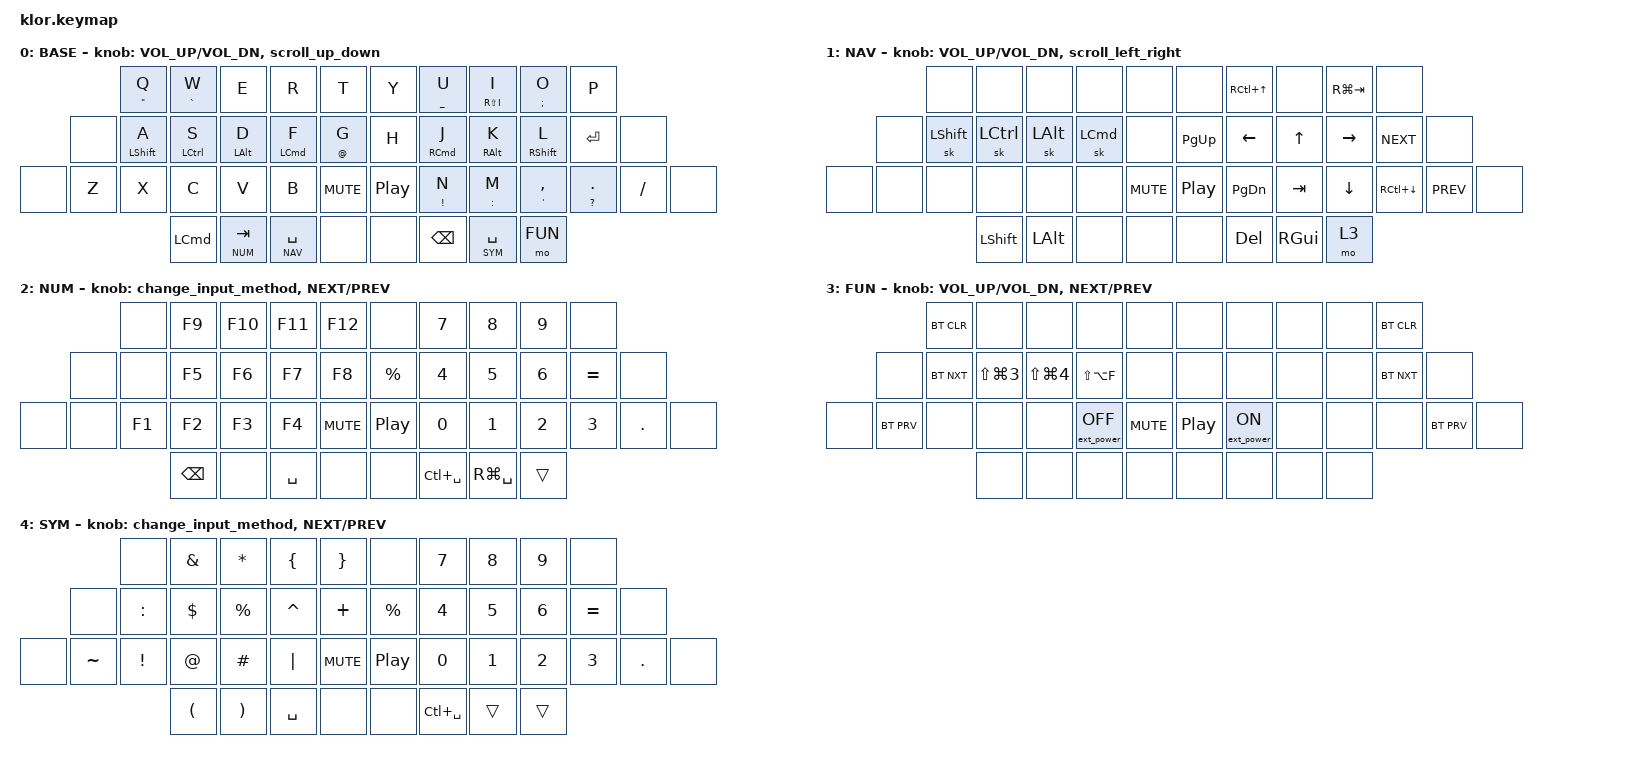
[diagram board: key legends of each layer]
//                               █         █    █            ▄▄▄▀▀▀▀▀▀▄▄▄        █▀▀▀▀▀▀▀▀▀▀█
//                               █        █     █          ▄▀            ▀▄      █          █
//                               █       █      █        ▄▀                ▀▄    █          █
//                               █      █       █        █                  █    █          █
//                               █     █        █       █                    █   █          █
//                               █    █         █       █                    █   █▄▄▄▄▄▄▄▄▄▄█
//                               █   █ █        █       █                    █   █      █
//                               █  █   █       █        █                  █    █       █
//                               █ █     █      █        ▀▄                ▄▀    █        █
//                               ██       █     █          ▀▄            ▄▀      █         █
//                               █         █    █▄▄▄▄▄▄▄▄    ▀▀▀▄▄▄▄▄▄▀▀▀        █          █
//
// ▄▄▄▄▄▄▄▄▄▄▄▄▄▄▄▄▄▄▄▄▄▄▄▄▄▄▄▄▄▄▄▄▄▄▄▄▄▄▄▄▄▄▄▄▄▄▄▄▄▄▄▄▄▄▄▄▄▄▄▄▄▄▄▄▄▄▄▄▄▄▄▄▄▄▄▄▄▄▄▄▄▄▄▄▄▄▄▄▄▄▄▄▄▄▄▄▄▄▄▄▄▄▄▄▄▄▄▄▄▄▄▄▄▄▄▄▄▄▄▄▄▄▄▄▄


#define ZMK_POINTING_DEFAULT_MOVE_VAL 1200  // 600
#define ZMK_POINTING_DEFAULT_SCRL_VAL 25   // 10
#define ZMK_MOUSE_SCRL_VAL 140

#include "../zmk-helpers/include/zmk-helpers/key-labels/klor.h"
#include "../zmk-helpers/include/zmk-helpers/helper.h"

#include <dt-bindings/zmk/mouse.h>
#include <behaviors.dtsi>
#include <dt-bindings/zmk/bt.h>
#include <dt-bindings/zmk/ext_power.h>
#include <dt-bindings/zmk/keys.h>
#include <dt-bindings/zmk/pointing.h>

&led_strip { chain-length = <21>; };

#define XXX &none
#define TODO ___
#define ___ &trans

#define BASE 0
#define NAV 1
#define NUM 2
#define FUN 3
#define SYM 4

#include "combos.dtsi"

/* ------------------------ general config ----------------------- */

#define QUICK_TAP_MS 175

// smart-layer config
&caps_word {  
    // /delete-property/ ignore-modifiers; // mods deactivate, requires PR #1451
    /delete-property/ ignore-numbers;
    continue-list = <BACKSPACE ENTER DELETE UNDERSCORE MINUS>;
};

// key-repeat config
&key_repeat {
    usage-pages = <HID_USAGE_KEY HID_USAGE_CONSUMER>; // repeat all keys
};

// sticky key aka 'one-shot mods'
&sk {
    release-after-ms = <2000>;
    quick-release;
};

// default layer-tap config
&lt {  
    flavor = "balanced";
    tapping-term-ms = <200>;
    quick-tap-ms = <QUICK_TAP_MS>;
};

#define KEYS_L LT0 LT1 LT2 LT3 LT4 LM0 LM1 LM2 LM3 LM4 LM5 LB0 LB1 LB2 LB3 LB4 LB5 // left hand
#define KEYS_R RT0 RT1 RT2 RT3 RT4 RM0 RM1 RM2 RM3 RM4 RM5 RB0 RB1 RB2 RB3 RB4 RB5 // right hand
#define THUMBS LH3 LH2 LH1 LH0 RH0 RH1 RH2 RH3 LEC REC                                   // thumbs

#define MAKE_HRM(NAME, HOLD, TAP, TRIGGER_POS) \
    ZMK_BEHAVIOR(NAME, hold_tap, \
        flavor = "balanced"; \
        tapping-term-ms = <280>; \
        quick-tap-ms = <QUICK_TAP_MS>; \
        require-prior-idle-ms = <150>; \
        bindings = <HOLD>, <TAP>; \
        hold-trigger-key-positions = <TRIGGER_POS>; \
        hold-trigger-on-release; \
    )
MAKE_HRM(hml, &kp, &kp, KEYS_R THUMBS)  // left-hand HRMs
MAKE_HRM(hmr, &kp, &kp, KEYS_L THUMBS)  // right-hand HRMs

&sensors {
    left_encoder { triggers-per-rotation = <15>; };

    right_encoder { triggers-per-rotation = <15>; };
};

/ {
    behaviors {
    
        scroll_up_down: scroll_up_down {
            compatible = "zmk,behavior-sensor-rotate";
            #sensor-binding-cells = <0>;
            bindings = <&msc SCRL_UP>, <&msc SCRL_DOWN>;

            tap-ms = <150>;
            label = "scroll_up_down";
        };

        scroll_left_right: scroll_left_right {
            compatible = "zmk,behavior-sensor-rotate";
            #sensor-binding-cells = <0>;
            bindings = <&msc SCRL_LEFT>, <&msc SCRL_RIGHT>;

            tap-ms = <150>;   // Ensures the event is very brief
            label = "scroll_left_right";
        };

        change_input_method: change_input_method {
            compatible = "zmk,behavior-sensor-rotate";
            #sensor-binding-cells = <0>;
            bindings = <&kp LC(SPACE)>, <&kp LC(SPACE)>;

            tap-ms = <150>;   // Ensures the event is very brief
            label = "change_input_method";
        };

    };

    combos {
        compatible = "zmk,combos";
        /*
        combo_closetab {
            timeout-ms = <50>;
            key-positions = <1 2>;
            bindings = <&macro_closetab>;
        };

        combo_lasttab {
            timeout-ms = <50>;
            key-positions = <2 3>;
            bindings = <&macro_lasttab>;
        }; */
    };

    macros {
        macro_closetab: macro_closetab {
            compatible = "zmk,behavior-macro";
            #binding-cells = <0>;
            bindings =
                <&macro_press>,
                <&kp LCTRL>,
                <&macro_tap>,
                <&kp F4>,
                <&macro_release>,
                <&kp LCTRL>;
        };

        macro_lasttab: macro_lasttab {
            compatible = "zmk,behavior-macro";
            #binding-cells = <0>;
            bindings =
                <&macro_press>,
                <&kp LCTRL>,
                <&macro_tap>,
                <&kp LS(T)>,
                <&macro_release>,
                <&kp LCTRL>;
        };
    };

    keymap {
        compatible = "zmk,keymap";

        // ▄▄▄▄▄▄▄▄▄▄▄▄▄▄▄▄▄▄▄▄▄▄▄▄▄▄▄▄▄▄▄▄▄▄▄▄▄▄▄▄▄▄▄▄▄▄▄▄▄▄▄▄▄▄▄▄▄▄▄▄▄▄▄▄▄▄▄▄▄▄▄▄▄▄▄▄▄▄▄▄▄▄▄▄▄▄▄▄▄▄▄▄▄▄▄▄▄▄▄▄▄▄▄▄▄▄▄▄▄▄▄▄▄▄▄▄▄▄▄▄▄▄▄▄▄▄▄▄▄▄▄▄▄▄▄▄▄▄▄▄▄▄

        base_layer {

            label = "BASE";

            bindings = <
	                    &hml DOUBLE_QUOTES  Q   &hml GRAVE W    &kp E	&kp R	&kp T				&kp Y	&hmr UNDER U	&hmr RS(I) I	&hmr SEMICOLON O	&kp P	
                XXX	&hml LEFT_SHIFT A	&hml LEFT_CONTROL S	&hml LEFT_ALT D	&hml LEFT_COMMAND F	&hml AT G				&kp H	&hmr RCMD J	&hmr RALT K	&hmr RSHFT L	&kp RETURN	XXX
                XXX	&kp Z	&kp X	&kp C	&kp V	&kp B	&kp C_MUTE		&kp C_PP	&hmr EXCLAMATION N	&hmr COLN M	&hmr SQT COMMA	&hmr QUESTION DOT	&kp SLASH	XXX
			                                &kp LEFT_COMMAND	&lt NUM TAB	&lt NAV SPACE	XXX		XXX	&kp BACKSPACE	&lt SYM SPACE	&mo FUN
            >;

            sensor-bindings = <&inc_dec_kp C_VOL_UP C_VOL_DN &scroll_up_down>;
        };

        // ▄▄▄▄▄▄▄▄▄▄▄▄▄▄▄▄▄▄▄▄▄▄▄▄▄▄▄▄▄▄▄▄▄▄▄▄▄▄▄▄▄▄▄▄▄▄▄▄▄▄▄▄▄▄▄▄▄▄▄▄▄▄▄▄▄▄▄▄▄▄▄▄▄▄▄▄▄▄▄▄▄▄▄▄▄▄▄▄▄▄▄▄▄▄▄▄▄▄▄▄▄▄▄▄▄▄▄▄▄▄▄▄▄▄▄▄▄▄▄▄▄▄▄▄▄▄▄▄▄▄▄▄▄▄▄▄▄▄▄▄▄▄

        nav_layer {
            label = "NAV";

            bindings = <
       XXX        XXX  XXX        XXX  XXX                        XXX    &kp RC(UP_ARROW)  XXX  &kp RG(TAB)         XXX
XXX  &sk LEFT_SHIFT    &sk LEFT_CONTROL    	&sk LEFT_ALT   	&sk LEFT_COMMAND   XXX                       &kp PG_UP    &kp LEFT          &kp UP     &kp RIGHT           &kp C_NEXT  XXX
XXX  XXX  XXX     XXX       XXX   XXX  &kp C_MUTE  &kp C_PP  &kp PG_DN    &kp TAB           &kp DOWN   &kp RC(DOWN_ARROW)  &kp C_PREV  XXX
                                    &kp LEFT_SHIFT  &kp LALT    XXX     XXX       XXX     &kp DELETE  &kp RGUI          &mo 3
            >;

            sensor-bindings = <&inc_dec_kp C_VOL_UP C_VOL_DN &scroll_left_right>;
        };

        // ▄▄▄▄▄▄▄▄▄▄▄▄▄▄▄▄▄▄▄▄▄▄▄▄▄▄▄▄▄▄▄▄▄▄▄▄▄▄▄▄▄▄▄▄▄▄▄▄▄▄▄▄▄▄▄▄▄▄▄▄▄▄▄▄▄▄▄▄▄▄▄▄▄▄▄▄▄▄▄▄▄▄▄▄▄▄▄▄▄▄▄▄▄▄▄▄▄▄▄▄▄▄▄▄▄▄▄▄▄▄▄▄▄▄▄▄▄▄▄▄▄▄▄▄▄

        num_layer {

            label = "NUM";

            bindings = <
       XXX   &kp F9  &kp F10  &kp F11     &kp F12               XXX &kp N7         &kp N8     &kp N9     XXX
XXX   XXX   &kp F5   &kp F6   &kp F7    &kp F8                       &kp PERCENT      &kp N4       &kp N5  &kp N6  &kp EQUAL  XXX
XXX   XXX   &kp F1  &kp F2   &kp F3     &kp F4     &kp C_MUTE  &kp C_PP  &kp N0        &kp N1         &kp N2     &kp N3     &kp DOT     XXX
                             &kp BACKSPACE  XXX  &kp SPACE   XXX       XXX     &kp LC(SPACE)  &kp RG(SPACE)  &trans
            >;

            sensor-bindings =
                <&change_input_method>,
                <&inc_dec_kp C_NEXT C_PREV>;
        };


        //▄▄▄▄▄▄▄▄▄▄▄▄▄▄▄▄▄▄▄▄▄▄▄▄▄▄▄▄▄▄▄▄▄▄▄▄▄▄▄▄▄▄▄▄▄▄▄▄▄▄▄▄▄▄▄▄▄▄▄▄▄▄▄▄▄▄▄▄▄▄▄▄▄▄▄▄▄▄▄▄▄▄▄▄▄▄▄▄▄▄▄▄▄▄▄▄▄▄▄▄▄▄▄▄▄▄▄▄▄▄▄▄▄▄▄▄▄▄▄▄▄▄▄▄▄

        fun_layer {
            // ┌───────────────────────────────────────────────────────────┐

            label = "FUN";


            bindings = <
       &bt BT_CLR  XXX  XXX  XXX          XXX                                    XXX             XXX  XXX  XXX  &bt BT_CLR
XXX  &bt BT_NXT  &kp LS(LG(N3))  &kp LS(LG(N4))  &kp LS(LA(F))  XXX           XXX             XXX  XXX  XXX  &bt BT_NXT  XXX
XXX  &bt BT_PRV  XXX  XXX  XXX          &ext_power EP_OFF  &kp C_MUTE  &kp C_PP  &ext_power EP_ON  XXX  XXX  XXX  &bt BT_PRV  XXX
                          XXX  XXX          XXX              XXX       XXX     XXX             XXX  XXX
            >;

            sensor-bindings = <&inc_dec_kp C_VOL_UP C_VOL_DN &inc_dec_kp C_NEXT C_PREV>;
        };

        // ▄▄▄▄▄▄▄▄▄▄▄▄▄▄▄▄▄▄▄▄▄▄▄▄▄▄▄▄▄▄▄▄▄▄▄▄▄▄▄▄▄▄▄▄▄▄▄▄▄▄▄▄▄▄▄▄▄▄▄▄▄▄▄▄▄▄▄▄▄▄▄▄▄▄▄▄▄▄▄▄▄▄▄▄▄▄▄▄▄▄▄▄▄▄▄▄▄▄▄▄▄▄▄▄▄▄▄▄▄▄▄▄▄▄▄▄▄▄▄▄▄▄▄▄▄

        sym_layer {

            label = "SYM";

            bindings = <
       XXX   &kp AMPS  &kp ASTRK  &kp LBRC     &kp RBRC               XXX &kp N7         &kp N8     &kp N9     XXX
XXX   &kp COLON   &kp DLLR   &kp PRCNT   &kp CARET    &kp PLUS                       &kp PERCENT      &kp N4       &kp N5  &kp N6  &kp EQUAL  XXX
XXX   &kp TILDE   &kp EXCL  &kp AT   &kp HASH     &kp PIPE     &kp C_MUTE  &kp C_PP  &kp N0        &kp N1         &kp N2     &kp N3     &kp DOT     XXX
                             &kp LPAR  &kp RPAR  &kp SPACE   XXX       XXX     &kp LC(SPACE)  &trans  &trans
            >;

            sensor-bindings =
                <&change_input_method>,
                <&inc_dec_kp C_NEXT C_PREV>;
        };

    };
};
